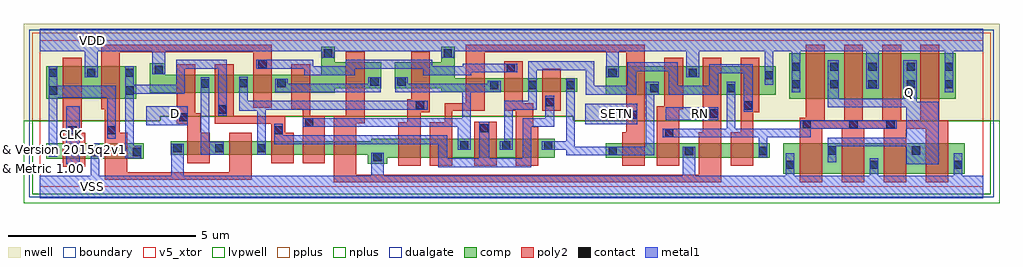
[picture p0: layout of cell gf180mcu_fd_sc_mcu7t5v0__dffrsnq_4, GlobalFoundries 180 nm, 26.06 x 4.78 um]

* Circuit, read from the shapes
.subckt gf180mcu_fd_sc_mcu7t5v0__dffrsnq_4 CLK D Q RN SETN VDD VSS
XM1 VSS CLK n1 VSUBS nfet_05v0 w=0.405u l=0.6u
XM2 n2 n1 VSS VSUBS nfet_05v0 w=0.405u l=0.6u
XM3 n3 D VSS VSUBS nfet_05v0 w=0.365u l=0.6u
XM4 n4 n1 n3 VSUBS nfet_05v0 w=0.365u l=0.6u
XM5 n5 n2 n4 VSUBS nfet_05v0 w=0.365u l=0.6u
XM6 n6 n7 n5 VSUBS nfet_05v0 w=0.365u l=0.6u
XM7 VSS RN n6 VSUBS nfet_05v0 w=0.365u l=0.6u
XM8 n8 n4 VSS VSUBS nfet_05v0 w=0.505u l=0.6u
XM9 n7 SETN n8 VSUBS nfet_05v0 w=0.505u l=0.6u
XM10 n9 n2 n7 VSUBS nfet_05v0 w=0.505u l=0.6u
XM11 n10 n1 n9 VSUBS nfet_05v0 w=0.505u l=0.6u
XM12 n11 SETN n10 VSUBS nfet_05v0 w=0.38u l=0.6u
XM13 VSS n12 n11 VSUBS nfet_05v0 w=0.38u l=0.6u
XM14 n13 RN VSS VSUBS nfet_05v0 w=0.38u l=0.6u
XM15 n12 n9 n13 VSUBS nfet_05v0 w=0.38u l=0.6u
XM16 Q n12 VSS VSUBS nfet_05v0 w=0.815u l=0.6u m=4
XM17 VDD CLK n1 n14 pfet_05v0 w=0.865u l=0.5u
XM18 n2 n1 VDD n14 pfet_05v0 w=0.865u l=0.5u
XM19 n3 D VDD n14 pfet_05v0 w=0.475u l=0.5u
XM20 n4 n2 n3 n14 pfet_05v0 w=0.475u l=0.5u
XM21 n15 n1 n4 n14 pfet_05v0 w=0.475u l=0.5u
XM22 VDD n7 n15 n14 pfet_05v0 w=0.475u l=0.5u
XM23 n15 RN VDD n14 pfet_05v0 w=0.69u l=0.5u
XM24 VDD n4 n7 n14 pfet_05v0 w=0.69u l=0.5u
XM25 n7 SETN VDD n14 pfet_05v0 w=0.36u l=0.5u
XM26 n9 n1 n7 n14 pfet_05v0 w=0.36u l=0.5u
XM27 n10 n2 n9 n14 pfet_05v0 w=0.36u l=0.5u
XM28 n10 SETN VDD n14 pfet_05v0 w=0.77u l=0.5u
XM29 VDD n12 n10 n14 pfet_05v0 w=0.77u l=0.5u
XM30 n12 RN VDD n14 pfet_05v0 w=0.77u l=0.5u
XM31 VDD n9 n12 n14 pfet_05v0 w=0.77u l=0.5u
XM32 Q n12 VDD n14 pfet_05v0 w=1.215u l=0.5u m=4
.ends

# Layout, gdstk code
import gdstk
lib = gdstk.Library(unit=1e-6, precision=1e-09)
def R(c, l, rs):  # rectangles x0, y0, x1, y1
    for r in rs: c.add(gdstk.rectangle(r[:2], r[2:], *l))
def A(c, l, x, y, w, h, nx, ny, dx, dy):  # array of equal rectangles
    R(c, l, [(x+i*dx, y+j*dy, x+i*dx+w, y+j*dy+h) for i in range(nx) for j in range(ny)])
def P(c, l, *ps):  # polygons
    for p in ps: c.add(gdstk.Polygon(p, *l))
boundary = (0, 0)
nwell = (21, 0)
comp = (22, 0)
poly2 = (30, 0)
pplus = (31, 0)
nplus = (32, 0)
contact = (33, 0)
metal1 = (34, 0)
dualgate = (55, 0)
v5_xtor = (112, 1)
lvpwell = (204, 0)

gf180mcu_fd_sc_mcu7t5v0_ = lib.new_cell('gf180mcu_fd_sc_mcu7t5v0__dffrsnq_4')
R(gf180mcu_fd_sc_mcu7t5v0_, boundary, [(0,0,25.2,3.92)])
P(gf180mcu_fd_sc_mcu7t5v0_, nwell, [(-0.43,1.76),(-0.43,4.35),(25.63,4.35),(25.63,1.76),(14.255,1.76),(14.255,1.885),(3.225,1.885),(3.225,1.76)])
R(gf180mcu_fd_sc_mcu7t5v0_, comp, [(19.86,0.345,24.7,1.16), (0.18,0.755,2.78,1.16), (15.12,0.78,19.5,1.16), (0.18,2.36,2.58,3.225), (20.02,2.36,24.46,3.575), (15.115,2.455,19.66,3.225)])
P(gf180mcu_fd_sc_mcu7t5v0_, comp, [(2.94,2.52),(2.94,3.3),(3.36,3.3),(3.36,2.995),(7.52,2.995),(7.52,3.74),(7.88,3.74),(7.88,3.325),(9.12,3.325),(9.12,2.635),(7.88,2.635),(7.88,2.52)],
  [(8.76,0.62),(8.76,0.855),(3.5,0.855),(3.5,1.22),(8.855,1.22),(8.855,1.285),(13.76,1.285),(13.76,0.78),(9.28,0.78),(9.28,0.62)],
  [(10.72,2.54),(10.72,2.635),(9.48,2.635),(9.48,3.325),(10.72,3.325),(10.72,3.74),(11.08,3.74),(11.08,2.9),(14.36,2.9),(14.36,2.54)])
R(gf180mcu_fd_sc_mcu7t5v0_, poly2, [(11.6,0.56,12.2,1.745), (13.42,2.035,13.92,3.15)])
P(gf180mcu_fd_sc_mcu7t5v0_, poly2, [(0.62,0.535),(0.62,3.45),(1.12,3.45),(1.12,1.44),(1.22,1.44),(1.22,0.535)],
  [(3.94,0.635),(3.94,1.68),(3.66,1.68),(3.66,3.28),(4.16,3.28),(4.16,1.97),(4.3,1.97),(4.3,1.44),(4.54,1.44),(4.54,0.635)],
  [(1.74,0.195),(1.74,2.08),(1.64,2.08),(1.64,3.8),(6.2,3.8),(6.2,2.12),(5.7,2.12),(5.7,3.6),(2.14,3.6),(2.14,1.44),(2.34,1.44),(2.34,0.395),(5.06,0.395),(5.06,1.44),(5.66,1.44),(5.66,0.195)],
  [(6.18,0.635),(6.18,1.68),(4.68,1.68),(4.68,3.28),(5.18,3.28),(5.18,1.88),(6.56,1.88),(6.56,1.44),(6.78,1.44),(6.78,0.635)],
  [(7.02,0.635),(7.02,2.08),(6.72,2.08),(6.72,3.28),(7.22,3.28),(7.22,1.9),(7.62,1.9),(7.62,0.635)],
  [(9.58,0.56),(9.58,1.72),(9.82,1.72),(9.82,2.335),(9.92,2.335),(9.92,3.605),(10.42,3.605),(10.42,2),(10.18,2),(10.18,0.56)],
  [(12.72,0.56),(12.72,2.04),(12.4,2.04),(12.4,3.36),(12.9,3.36),(12.9,2.24),(13.18,2.24),(13.18,1.605),(13.32,1.605),(13.32,0.56)],
  [(10.42,0.56),(10.42,1.72),(10.82,1.72),(10.82,2.24),(11.38,2.24),(11.38,3.8),(16.16,3.8),(16.16,0.56),(15.56,0.56),(15.56,1.465),(15.66,1.465),(15.66,3.6),(11.88,3.6),(11.88,2.04),(11.02,2.04),(11.02,0.56)],
  [(16.48,0.56),(16.48,2.155),(16.68,2.155),(16.68,3.45),(17.18,3.45),(17.18,2.08),(17.08,2.08),(17.08,0.56)],
  [(7.86,0.12),(7.86,1.9),(8.18,1.9),(8.18,3.605),(8.68,3.605),(8.68,1.7),(8.46,1.7),(8.46,0.32),(17.6,0.32),(17.6,1.465),(17.7,1.465),(17.7,3.45),(18.2,3.45),(18.2,0.12)],
  [(18.46,0.56),(18.46,1.465),(18.72,1.465),(18.72,3.45),(19.22,3.45),(19.22,1.995),(19.06,1.995),(19.06,0.56)],
  [(20.3,0.12),(20.3,1.85),(20.46,1.85),(20.46,3.8),(20.96,3.8),(20.96,1.785),(21.48,1.785),(21.48,3.8),(21.98,3.8),(21.98,1.785),(22.5,1.785),(22.5,3.8),(23,3.8),(23,1.785),(23.52,1.785),(23.52,3.8),(24.02,3.8),(24.02,1.785),(24.26,1.785),(24.26,0.12),(23.66,0.12),(23.66,1.555),(23.14,1.555),(23.14,0.12),(22.54,0.12),(22.54,1.555),(22.02,1.555),(22.02,0.12),(21.42,0.12),(21.42,1.555),(20.9,1.555),(20.9,0.12)])
P(gf180mcu_fd_sc_mcu7t5v0_, pplus, [(-0.2,1.76),(-0.2,4.12),(25.4,4.12),(25.4,1.76),(14.255,1.76),(14.255,1.885),(3.225,1.885),(3.225,1.76)])
P(gf180mcu_fd_sc_mcu7t5v0_, nplus, [(-0.2,-0.2),(-0.2,1.76),(3.225,1.76),(3.225,1.885),(14.255,1.885),(14.255,1.76),(25.4,1.76),(25.4,-0.2)])
A(gf180mcu_fd_sc_mcu7t5v0_, contact, 19.93, 0.485, 0.22, 0.22, 3, 1, 2.24, 0)
A(gf180mcu_fd_sc_mcu7t5v0_, contact, 3.57, 0.925, 0.22, 0.22, 3, 1, 1.12, 0)
A(gf180mcu_fd_sc_mcu7t5v0_, contact, 11.23, 0.995, 0.22, 0.22, 3, 1, 1.12, 0)
A(gf180mcu_fd_sc_mcu7t5v0_, contact, 12.03, 2.61, 0.22, 0.22, 3, 1, 1.02, 0)
A(gf180mcu_fd_sc_mcu7t5v0_, contact, 20.09, 2.63, 0.22, 0.22, 5, 2, 1.02, 0.47)
A(gf180mcu_fd_sc_mcu7t5v0_, contact, 0.25, 2.935, 0.22, 0.22, 3, 1, 1.02, 0)
R(gf180mcu_fd_sc_mcu7t5v0_, contact, [(8.91,0.69,9.13,0.91), (1.37,0.825,1.59,1.045), (2.49,0.825,2.71,1.045), (15.19,0.85,15.41,1.07), (17.23,0.85,17.45,1.07), (19.21,0.85,19.43,1.07), (21.05,0.865,21.27,1.085), (23.29,0.865,23.51,1.085), (0.25,0.87,0.47,1.09), (16.705,1.33,16.925,1.55), (0.77,1.405,0.99,1.625), (1.81,1.405,2.03,1.625), (6.27,1.405,6.49,1.625), (11.765,1.455,11.985,1.675), (20.37,1.56,20.59,1.78), (21.62,1.56,21.84,1.78), (22.61,1.56,22.83,1.78), (7.09,1.61,7.31,1.83), (3.73,1.75,3.95,1.97), (15.73,1.82,15.95,2.04), (17.89,1.85,18.11,2.07), (4.77,1.955,4.99,2.175), (18.81,2.065,19.03,2.285), (10.045,2.07,10.265,2.29), (13.51,2.15,13.73,2.37), (0.25,2.465,0.47,2.685), (2.29,2.465,2.51,2.685), (16.31,2.525,16.53,2.745), (18.35,2.525,18.57,2.745), (4.31,2.65,4.53,2.87), (5.33,2.655,5.55,2.875), (6.35,2.66,6.57,2.88), (8.83,2.705,9.05,2.925), (9.55,2.705,9.77,2.925), (19.37,2.87,19.59,3.09), (15.185,2.935,15.405,3.155), (17.33,2.935,17.55,3.155), (3.07,3.01,3.29,3.23), (12.47,3.07,12.69,3.29), (5.84,3.165,6.06,3.385), (7.59,3.45,7.81,3.67), (10.79,3.45,11.01,3.67)])
R(gf180mcu_fd_sc_mcu7t5v0_, metal1, [(0.705,0.6,1.07,2.15), (2.85,1.65,3.96,2.15), (14.565,1.67,15.955,2.225), (16.715,1.785,18.115,2.13)])
P(gf180mcu_fd_sc_mcu7t5v0_, metal1, [(0.245,0.81),(0.245,3.225),(0.475,3.225),(0.475,2.7),(2.035,2.7),(2.035,1.28),(1.805,1.28),(1.805,2.38),(0.475,2.38),(0.475,0.81)],
  [(4.305,0.865),(4.305,2.93),(4.535,2.93),(4.535,1.205),(4.915,1.205),(4.915,0.865)],
  [(2.285,0.765),(2.285,3.225),(2.515,3.225),(2.515,2.725),(3.65,2.725),(3.65,3.39),(4.995,3.39),(4.995,1.895),(4.765,1.895),(4.765,3.16),(3.88,3.16),(3.88,2.49),(2.515,2.49),(2.515,1.105),(2.715,1.105),(2.715,0.765)],
  [(6.29,2.525),(6.29,2.885),(6.63,2.885),(6.63,2.755),(8.77,2.755),(8.77,2.93),(9.11,2.93),(9.11,2.525)],
  [(5.805,0.865),(5.805,2.04),(5.325,2.04),(5.325,2.94),(5.555,2.94),(5.555,2.295),(10.36,2.295),(10.36,2.065),(6.035,2.065),(6.035,0.865)],
  [(11.17,0.99),(11.17,1.605),(7.03,1.605),(7.03,1.835),(11.28,1.835),(11.28,2.525),(9.49,2.525),(9.49,2.93),(9.83,2.93),(9.83,2.755),(11.97,2.755),(11.97,2.835),(12.31,2.835),(12.31,2.525),(11.51,2.525),(11.51,0.99)],
  [(7.07,2.985),(7.07,3.16),(5.78,3.16),(5.78,3.39),(7.3,3.39),(7.3,3.215),(8.18,3.215),(8.18,3.39),(10.48,3.39),(10.48,3.215),(11.3,3.215),(11.3,3.295),(12.75,3.295),(12.75,3.065),(11.53,3.065),(11.53,2.985),(10.245,2.985),(10.245,3.16),(8.41,3.16),(8.41,2.985)],
  [(10.65,0.53),(10.65,1.145),(6.265,1.145),(6.265,1.685),(6.495,1.685),(6.495,1.375),(10.88,1.375),(10.88,0.76),(11.745,0.76),(11.745,1.735),(12,1.735),(12,0.76),(12.895,0.76),(12.895,1.83),(13.505,1.83),(13.505,2.43),(13.735,2.43),(13.735,1.6),(13.125,1.6),(13.125,0.53)],
  [(14.065,0.845),(14.065,0.99),(13.41,0.99),(13.41,1.22),(14.065,1.22),(14.065,2.89),(14.295,2.89),(14.295,1.075),(16.185,1.075),(16.185,2.805),(16.535,2.805),(16.535,2.465),(16.415,2.465),(16.415,0.845)],
  [(12.29,0.99),(12.29,1.22),(12.4,1.22),(12.4,2.295),(13.045,2.295),(13.045,3.355),(14.815,3.355),(14.815,2.7),(15.695,2.7),(15.695,3.325),(17.035,3.325),(17.035,2.7),(17.885,2.7),(17.885,3.27),(19.035,3.27),(19.035,2.005),(18.805,2.005),(18.805,3.035),(18.115,3.035),(18.115,2.465),(16.805,2.465),(16.805,3.09),(15.925,3.09),(15.925,2.465),(14.585,2.465),(14.585,3.12),(13.275,3.12),(13.275,2.06),(12.63,2.06),(12.63,0.99)],
  [(19.205,0.79),(19.205,1.325),(16.645,1.325),(16.645,1.555),(18.345,1.555),(18.345,2.805),(18.575,2.805),(18.575,1.555),(20.305,1.555),(20.305,1.785),(22.89,1.785),(22.89,1.555),(20.595,1.555),(20.595,1.325),(19.435,1.325),(19.435,0.79)],
  [(23.14,0.6),(23.14,1.085),(21.275,1.085),(21.275,0.655),(21.045,0.655),(21.045,1.315),(23.14,1.315),(23.14,2.125),(21.045,2.125),(21.045,3.38),(21.335,3.38),(21.335,2.36),(23.06,2.36),(23.06,3.38),(23.42,3.38),(23.42,2.28),(24.005,2.28),(24.005,0.6)],
  [(0,-0.3),(0,0.3),(1.365,0.3),(1.365,1.16),(1.595,1.16),(1.595,0.3),(3.51,0.3),(3.51,1.15),(3.85,1.15),(3.85,0.3),(8.85,0.3),(8.85,0.915),(9.19,0.915),(9.19,0.3),(17.17,0.3),(17.17,1.075),(17.51,1.075),(17.51,0.3),(19.925,0.3),(19.925,0.905),(20.155,0.905),(20.155,0.3),(22.165,0.3),(22.165,0.765),(22.395,0.765),(22.395,0.3),(24.405,0.3),(24.405,0.905),(24.635,0.905),(24.635,0.3),(25.2,0.3),(25.2,-0.3)],
  [(20.085,2.53),(20.085,3.62),(19.595,3.62),(19.595,2.73),(19.365,2.73),(19.365,3.62),(17.61,3.62),(17.61,2.93),(17.27,2.93),(17.27,3.62),(15.465,3.62),(15.465,2.93),(15.125,2.93),(15.125,3.62),(11.07,3.62),(11.07,3.445),(10.73,3.445),(10.73,3.62),(7.87,3.62),(7.87,3.445),(7.53,3.445),(7.53,3.62),(3.35,3.62),(3.35,3.005),(3.01,3.005),(3.01,3.62),(1.555,3.62),(1.555,2.93),(1.205,2.93),(1.205,3.62),(0,3.62),(0,4.22),(25.2,4.22),(25.2,3.62),(24.395,3.62),(24.395,2.53),(24.165,2.53),(24.165,3.62),(22.41,3.62),(22.41,2.62),(22.07,2.62),(22.07,3.62),(20.315,3.62),(20.315,2.53)])
R(gf180mcu_fd_sc_mcu7t5v0_, dualgate, [(-0.28,-0.28,25.48,4.2)])
R(gf180mcu_fd_sc_mcu7t5v0_, v5_xtor, [(0,0,25.2,3.92)])
P(gf180mcu_fd_sc_mcu7t5v0_, lvpwell, [(-0.43,-0.43),(-0.43,1.76),(3.225,1.76),(3.225,1.885),(14.255,1.885),(14.255,1.76),(25.63,1.76),(25.63,-0.43)])
gf180mcu_fd_sc_mcu7t5v0_.add(gdstk.Label('D', (3.64,1.96), layer=34, texttype=10))
gf180mcu_fd_sc_mcu7t5v0_.add(gdstk.Label('Q', (23.24,2.52), layer=34, texttype=10))
gf180mcu_fd_sc_mcu7t5v0_.add(gdstk.Label('RN', (17.64,1.96), layer=34, texttype=10))
gf180mcu_fd_sc_mcu7t5v0_.add(gdstk.Label('SETN', (15.4,1.96), layer=34, texttype=10))
gf180mcu_fd_sc_mcu7t5v0_.add(gdstk.Label('VDD', (1.4,3.92), layer=34, texttype=10))
gf180mcu_fd_sc_mcu7t5v0_.add(gdstk.Label('VSS', (1.4,0), layer=34, texttype=10))
gf180mcu_fd_sc_mcu7t5v0_.add(gdstk.Label('CLK', (0.84,1.4), layer=34, texttype=10))
gf180mcu_fd_sc_mcu7t5v0_.add(gdstk.Label('& Vendor GLOBALFOUNDRIES', (0,2), layer=63, texttype=63))
gf180mcu_fd_sc_mcu7t5v0_.add(gdstk.Label('& Product GF018hv5v_mcu_sc7', (0,1.5), layer=63, texttype=63))
gf180mcu_fd_sc_mcu7t5v0_.add(gdstk.Label('& Version 2015q2v1', (0,1), layer=63, texttype=63))
gf180mcu_fd_sc_mcu7t5v0_.add(gdstk.Label('& Metric 1.00', (0,0.5), layer=63, texttype=63))

lib.write_gds('gf180mcu_fd_sc_mcu7t5v0__dffrsnq_4.gds')
